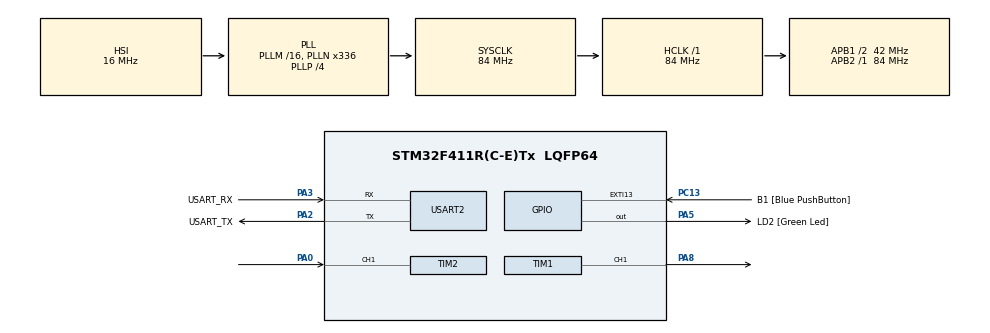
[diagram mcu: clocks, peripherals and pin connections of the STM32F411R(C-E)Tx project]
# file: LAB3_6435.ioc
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Dma.Request0=TIM2_CH1
Dma.TIM2_CH1.0.Direction=DMA_PERIPH_TO_MEMORY
Dma.TIM2_CH1.0.FIFOMode=DMA_FIFOMODE_DISABLE
Dma.TIM2_CH1.0.Instance=DMA1_Stream5
Dma.TIM2_CH1.0.MemDataAlignment=DMA_MDATAALIGN_WORD
Dma.TIM2_CH1.0.MemInc=DMA_MINC_ENABLE
Dma.TIM2_CH1.0.Mode=DMA_CIRCULAR
Dma.TIM2_CH1.0.PeriphDataAlignment=DMA_PDATAALIGN_WORD
Dma.TIM2_CH1.0.PeriphInc=DMA_PINC_DISABLE
Dma.TIM2_CH1.0.Priority=DMA_PRIORITY_LOW
Mcu.Family=STM32F4
Mcu.Name=STM32F411R(C-E)Tx
Mcu.Package=LQFP64
NVIC.DMA1_Stream5_IRQn=true\:0\:0\:false\:false\:true\:false\:true\:true
NVIC.PriorityGroup=NVIC_PRIORITYGROUP_0
PA0-WKUP.Signal=S_TIM2_CH1_ETR
PA13.GPIO_Label=TMS
PA13.Mode=Serial_Wire
PA13.Signal=SYS_JTMS-SWDIO
PA14.GPIO_Label=TCK
PA14.Mode=Serial_Wire
PA14.Signal=SYS_JTCK-SWCLK
PA2.GPIO_Label=USART_TX
PA2.Mode=Asynchronous
PA2.Signal=USART2_TX
PA3.GPIO_Label=USART_RX
PA3.Mode=Asynchronous
PA3.Signal=USART2_RX
PA5.GPIO_Label=LD2 [Green Led]
PA5.Signal=GPIO_Output
PA8.Signal=S_TIM1_CH1
PB3.GPIO_Label=SWO
PB3.Signal=SYS_JTDO-SWO
PC13-ANTI_TAMP.GPIO_Label=B1 [Blue PushButton]
PC13-ANTI_TAMP.GPIO_ModeDefaultEXTI=GPIO_MODE_IT_FALLING
PC13-ANTI_TAMP.Signal=GPXTI13
PC14-OSC32_IN.Mode=LSE-External-Oscillator
PC14-OSC32_IN.Signal=RCC_OSC32_IN
PC15-OSC32_OUT.Mode=LSE-External-Oscillator
PC15-OSC32_OUT.Signal=RCC_OSC32_OUT
PH0\ -\ OSC_IN.Mode=HSE-External-Clock-Source
PH0\ -\ OSC_IN.Signal=RCC_OSC_IN
PH1\ -\ OSC_OUT.Mode=HSE-External-Clock-Source
PH1\ -\ OSC_OUT.Signal=RCC_OSC_OUT
ProjectManager.HeapSize=0x200
ProjectManager.StackSize=0x400
ProjectManager.TargetToolchain=STM32CubeIDE
RCC.48MHZClocksFreq_Value=84000000
RCC.AHBFreq_Value=84000000
RCC.APB1CLKDivider=RCC_HCLK_DIV2
RCC.APB1Freq_Value=42000000
RCC.APB1TimFreq_Value=84000000
RCC.APB2Freq_Value=84000000
RCC.APB2TimFreq_Value=84000000
RCC.CortexFreq_Value=84000000
RCC.FLatency-AdvancedSettings=FLASH_LATENCY_2
RCC.HCLKFreq_Value=84000000
RCC.HSE_VALUE=8000000
RCC.HSI_VALUE=16000000
RCC.PLLN=336
RCC.PLLP=RCC_PLLP_DIV4
RCC.SYSCLKFreq_VALUE=84000000
RCC.SYSCLKSource=RCC_SYSCLKSOURCE_PLLCLK
RCC.VCOOutputFreq_Value=336000000
SH.S_TIM1_CH1.0=TIM1_CH1,PWM Generation1 CH1
SH.S_TIM2_CH1_ETR.0=TIM2_CH1,Input_Capture1_from_TI1
TIM1.Channel-PWM\ Generation1\ CH1=TIM_CHANNEL_1
TIM1.Period=99
TIM1.Prescaler=83
TIM1.Pulse-PWM\ Generation1\ CH1=50
TIM2.Channel-Input_Capture1_from_TI1=TIM_CHANNEL_1
TIM2.Prescaler=83
USART2.VirtualMode=VM_ASYNC
VP_TIM1_VS_ClockSourceINT.Mode=Internal
VP_TIM2_VS_ClockSourceINT.Mode=Internal
board=NUCLEO-F411RE

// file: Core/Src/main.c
/* USER CODE BEGIN Header */
/**
  ******************************************************************************
  * @file           : main.c
  * @brief          : Main program body
  ******************************************************************************
  * @attention
  *
  * Copyright (c) 2023 STMicroelectronics.
  * All rights reserved.
  *
  * This software is licensed under terms that can be found in the LICENSE file
  * in the root directory of this software component.
  * If no LICENSE file comes with this software, it is provided AS-IS.
  *
  ******************************************************************************
  */
/* USER CODE END Header */
#include "main.h"

/* USER CODE BEGIN Includes */

//35
//นภัสสร เตชะสมบูรณากิจ 64340500035
#define IC_BUFFER_SIZE 20

/* USER CODE END Includes */

TIM_HandleTypeDef htim1;
TIM_HandleTypeDef htim2;
DMA_HandleTypeDef hdma_tim2_ch1;

UART_HandleTypeDef huart2;

/* USER CODE BEGIN PV */

uint32_t InputCaptureBuffer[IC_BUFFER_SIZE];
float averageRisingedgePeriod;
float MotorReadRPM;
float ratioOfGearbox;
uint32_t MotorSetDuty = 50;
float MotorSetRPM;
int MotorControlEnable = 0;
float x1;
float x2;
float x3;
int duty;
//int j = 0;
//float P;

/* USER CODE END PV */

void SystemClock_Config(void);
static void MX_GPIO_Init(void);
static void MX_DMA_Init(void);
static void MX_USART2_UART_Init(void);
static void MX_TIM2_Init(void);
static void MX_TIM1_Init(void);
/* USER CODE BEGIN PFP */

float IC_Calc_Period();
void MotorSET();
void MotorRPM();

/* USER CODE END PFP */

int main(void)
{

  /* MCU Configuration--------------------------------------------------------*/

  /* Reset of all peripherals, Initializes the Flash interface and the Systick. */
  HAL_Init();

  /* Configure the system clock */
  SystemClock_Config();

  /* Initialize all configured peripherals */
  MX_GPIO_Init();
  MX_DMA_Init();
  MX_USART2_UART_Init();
  MX_TIM2_Init();
  MX_TIM1_Init();
  /* USER CODE BEGIN 2 */

  HAL_TIM_Base_Start(&htim2);
  HAL_TIM_IC_Start_DMA(&htim2, TIM_CHANNEL_1, InputCaptureBuffer, IC_BUFFER_SIZE);

  HAL_TIM_Base_Start(&htim1);
  HAL_TIM_PWM_Start(&htim1, TIM_CHANNEL_1);

  /* USER CODE END 2 */

  /* Infinite loop */
  while (1)
  {

    /* USER CODE BEGIN 3 */

	  static uint32_t timestamp = 0;
	  if (HAL_GetTick() >= timestamp)
	  {
		  timestamp = HAL_GetTick()+500;
		  averageRisingedgePeriod = IC_Calc_Period();
		  MotorRPM();
		  if(MotorControlEnable == 1)
		  {
			  MotorSET();
			  __HAL_TIM_SET_COMPARE(&htim1, TIM_CHANNEL_1,duty);
		  }
		  if(MotorControlEnable == 0)
		  {
			  __HAL_TIM_SET_COMPARE(&htim1, TIM_CHANNEL_1,MotorSetDuty);
		  }
	  }

  }
  /* USER CODE END 3 */
}

void SystemClock_Config(void)
{
  RCC_OscInitTypeDef RCC_OscInitStruct = {0};
  RCC_ClkInitTypeDef RCC_ClkInitStruct = {0};

  /** Configure the main internal regulator output voltage
  */
  __HAL_RCC_PWR_CLK_ENABLE();
  __HAL_PWR_VOLTAGESCALING_CONFIG(PWR_REGULATOR_VOLTAGE_SCALE1);

  /** Initializes the RCC Oscillators according to the specified parameters
  * in the RCC_OscInitTypeDef structure.
  */
  RCC_OscInitStruct.OscillatorType = RCC_OSCILLATORTYPE_HSI;
  RCC_OscInitStruct.HSIState = RCC_HSI_ON;
  RCC_OscInitStruct.HSICalibrationValue = RCC_HSICALIBRATION_DEFAULT;
  RCC_OscInitStruct.PLL.PLLState = RCC_PLL_ON;
  RCC_OscInitStruct.PLL.PLLSource = RCC_PLLSOURCE_HSI;
  RCC_OscInitStruct.PLL.PLLM = 16;
  RCC_OscInitStruct.PLL.PLLN = 336;
  RCC_OscInitStruct.PLL.PLLP = RCC_PLLP_DIV4;
  RCC_OscInitStruct.PLL.PLLQ = 4;
  if (HAL_RCC_OscConfig(&RCC_OscInitStruct) != HAL_OK)
  {
    Error_Handler();
  }

  /** Initializes the CPU, AHB and APB buses clocks
  */
  RCC_ClkInitStruct.ClockType = RCC_CLOCKTYPE_HCLK|RCC_CLOCKTYPE_SYSCLK
                              |RCC_CLOCKTYPE_PCLK1|RCC_CLOCKTYPE_PCLK2;
  RCC_ClkInitStruct.SYSCLKSource = RCC_SYSCLKSOURCE_PLLCLK;
  RCC_ClkInitStruct.AHBCLKDivider = RCC_SYSCLK_DIV1;
  RCC_ClkInitStruct.APB1CLKDivider = RCC_HCLK_DIV2;
  RCC_ClkInitStruct.APB2CLKDivider = RCC_HCLK_DIV1;

  if (HAL_RCC_ClockConfig(&RCC_ClkInitStruct, FLASH_LATENCY_2) != HAL_OK)
  {
    Error_Handler();
  }
}

static void MX_TIM1_Init(void)
{

  TIM_ClockConfigTypeDef sClockSourceConfig = {0};
  TIM_MasterConfigTypeDef sMasterConfig = {0};
  TIM_OC_InitTypeDef sConfigOC = {0};
  TIM_BreakDeadTimeConfigTypeDef sBreakDeadTimeConfig = {0};

  htim1.Instance = TIM1;
  htim1.Init.Prescaler = 83;
  htim1.Init.CounterMode = TIM_COUNTERMODE_UP;
  htim1.Init.Period = 99;
  htim1.Init.ClockDivision = TIM_CLOCKDIVISION_DIV1;
  htim1.Init.RepetitionCounter = 0;
  htim1.Init.AutoReloadPreload = TIM_AUTORELOAD_PRELOAD_DISABLE;
  if (HAL_TIM_Base_Init(&htim1) != HAL_OK)
  {
    Error_Handler();
  }
  sClockSourceConfig.ClockSource = TIM_CLOCKSOURCE_INTERNAL;
  if (HAL_TIM_ConfigClockSource(&htim1, &sClockSourceConfig) != HAL_OK)
  {
    Error_Handler();
  }
  if (HAL_TIM_PWM_Init(&htim1) != HAL_OK)
  {
    Error_Handler();
  }
  sMasterConfig.MasterOutputTrigger = TIM_TRGO_RESET;
  sMasterConfig.MasterSlaveMode = TIM_MASTERSLAVEMODE_DISABLE;
  if (HAL_TIMEx_MasterConfigSynchronization(&htim1, &sMasterConfig) != HAL_OK)
  {
    Error_Handler();
  }
  sConfigOC.OCMode = TIM_OCMODE_PWM1;
  sConfigOC.Pulse = 50;
  sConfigOC.OCPolarity = TIM_OCPOLARITY_HIGH;
  sConfigOC.OCNPolarity = TIM_OCNPOLARITY_HIGH;
  sConfigOC.OCFastMode = TIM_OCFAST_DISABLE;
  sConfigOC.OCIdleState = TIM_OCIDLESTATE_RESET;
  sConfigOC.OCNIdleState = TIM_OCNIDLESTATE_RESET;
  if (HAL_TIM_PWM_ConfigChannel(&htim1, &sConfigOC, TIM_CHANNEL_1) != HAL_OK)
  {
    Error_Handler();
  }
  sBreakDeadTimeConfig.OffStateRunMode = TIM_OSSR_DISABLE;
  sBreakDeadTimeConfig.OffStateIDLEMode = TIM_OSSI_DISABLE;
  sBreakDeadTimeConfig.LockLevel = TIM_LOCKLEVEL_OFF;
  sBreakDeadTimeConfig.DeadTime = 0;
  sBreakDeadTimeConfig.BreakState = TIM_BREAK_DISABLE;
  sBreakDeadTimeConfig.BreakPolarity = TIM_BREAKPOLARITY_HIGH;
  sBreakDeadTimeConfig.AutomaticOutput = TIM_AUTOMATICOUTPUT_DISABLE;
  if (HAL_TIMEx_ConfigBreakDeadTime(&htim1, &sBreakDeadTimeConfig) != HAL_OK)
  {
    Error_Handler();
  }
  HAL_TIM_MspPostInit(&htim1);

}

static void MX_TIM2_Init(void)
{

  TIM_ClockConfigTypeDef sClockSourceConfig = {0};
  TIM_MasterConfigTypeDef sMasterConfig = {0};
  TIM_IC_InitTypeDef sConfigIC = {0};

  htim2.Instance = TIM2;
  htim2.Init.Prescaler = 83;
  htim2.Init.CounterMode = TIM_COUNTERMODE_UP;
  htim2.Init.Period = 4294967295;
  htim2.Init.ClockDivision = TIM_CLOCKDIVISION_DIV1;
  htim2.Init.AutoReloadPreload = TIM_AUTORELOAD_PRELOAD_DISABLE;
  if (HAL_TIM_Base_Init(&htim2) != HAL_OK)
  {
    Error_Handler();
  }
  sClockSourceConfig.ClockSource = TIM_CLOCKSOURCE_INTERNAL;
  if (HAL_TIM_ConfigClockSource(&htim2, &sClockSourceConfig) != HAL_OK)
  {
    Error_Handler();
  }
  if (HAL_TIM_IC_Init(&htim2) != HAL_OK)
  {
    Error_Handler();
  }
  sMasterConfig.MasterOutputTrigger = TIM_TRGO_RESET;
  sMasterConfig.MasterSlaveMode = TIM_MASTERSLAVEMODE_DISABLE;
  if (HAL_TIMEx_MasterConfigSynchronization(&htim2, &sMasterConfig) != HAL_OK)
  {
    Error_Handler();
  }
  sConfigIC.ICPolarity = TIM_INPUTCHANNELPOLARITY_RISING;
  sConfigIC.ICSelection = TIM_ICSELECTION_DIRECTTI;
  sConfigIC.ICPrescaler = TIM_ICPSC_DIV1;
  sConfigIC.ICFilter = 0;
  if (HAL_TIM_IC_ConfigChannel(&htim2, &sConfigIC, TIM_CHANNEL_1) != HAL_OK)
  {
    Error_Handler();
  }

}

static void MX_USART2_UART_Init(void)
{

  huart2.Instance = USART2;
  huart2.Init.BaudRate = 115200;
  huart2.Init.WordLength = UART_WORDLENGTH_8B;
  huart2.Init.StopBits = UART_STOPBITS_1;
  huart2.Init.Parity = UART_PARITY_NONE;
  huart2.Init.Mode = UART_MODE_TX_RX;
  huart2.Init.HwFlowCtl = UART_HWCONTROL_NONE;
  huart2.Init.OverSampling = UART_OVERSAMPLING_16;
  if (HAL_UART_Init(&huart2) != HAL_OK)
  {
    Error_Handler();
  }

}

static void MX_DMA_Init(void)
{

  /* DMA controller clock enable */
  __HAL_RCC_DMA1_CLK_ENABLE();

  /* DMA interrupt init */
  /* DMA1_Stream5_IRQn interrupt configuration */
  HAL_NVIC_SetPriority(DMA1_Stream5_IRQn, 0, 0);
  HAL_NVIC_EnableIRQ(DMA1_Stream5_IRQn);

}

static void MX_GPIO_Init(void)
{
  GPIO_InitTypeDef GPIO_InitStruct = {0};

  /* GPIO Ports Clock Enable */
  __HAL_RCC_GPIOC_CLK_ENABLE();
  __HAL_RCC_GPIOH_CLK_ENABLE();
  __HAL_RCC_GPIOA_CLK_ENABLE();
  __HAL_RCC_GPIOB_CLK_ENABLE();

  /*Configure GPIO pin Output Level */
  HAL_GPIO_WritePin(LD2_GPIO_Port, LD2_Pin, GPIO_PIN_RESET);

  /*Configure GPIO pin : B1_Pin */
  GPIO_InitStruct.Pin = B1_Pin;
  GPIO_InitStruct.Mode = GPIO_MODE_IT_FALLING;
  GPIO_InitStruct.Pull = GPIO_NOPULL;
  HAL_GPIO_Init(B1_GPIO_Port, &GPIO_InitStruct);

  /*Configure GPIO pin : LD2_Pin */
  GPIO_InitStruct.Pin = LD2_Pin;
  GPIO_InitStruct.Mode = GPIO_MODE_OUTPUT_PP;
  GPIO_InitStruct.Pull = GPIO_NOPULL;
  GPIO_InitStruct.Speed = GPIO_SPEED_FREQ_LOW;
  HAL_GPIO_Init(LD2_GPIO_Port, &GPIO_InitStruct);

}

/* USER CODE BEGIN 4 */

float IC_Calc_Period()
{
	uint32_t currentDMAPointer = IC_BUFFER_SIZE - __HAL_DMA_GET_COUNTER((htim2.hdma[1]));

	uint32_t lastVaildDMAPointer = (currentDMAPointer - 1 + IC_BUFFER_SIZE)% IC_BUFFER_SIZE;

	uint32_t i = (lastVaildDMAPointer + IC_BUFFER_SIZE - 5)%IC_BUFFER_SIZE;

	int32_t sumdiff = 0;
	while(i != lastVaildDMAPointer)
	{
		uint32_t firstCapture = InputCaptureBuffer[i];

		uint32_t nextCapture = InputCaptureBuffer[(i+1)%IC_BUFFER_SIZE];
		sumdiff += nextCapture - firstCapture;
		i = (i+1) % IC_BUFFER_SIZE;
	}

	return sumdiff / 5.0;
}

void MotorRPM()
{
	ratioOfGearbox = (12*64*averageRisingedgePeriod);
	MotorReadRPM = (1000000*60)/ratioOfGearbox;
}

void MotorSET()
{
	x3 = (0.0214*MotorSetRPM*MotorSetRPM*MotorSetRPM);
	x2 = (0.4756*MotorSetRPM*MotorSetRPM);
	x1 = (5.6104*MotorSetRPM);
	duty = x3-x2+x1+5.2076;
}
/* USER CODE END 4 */

void Error_Handler(void)
{
  __disable_irq();
  while (1)
  {
  }
}
